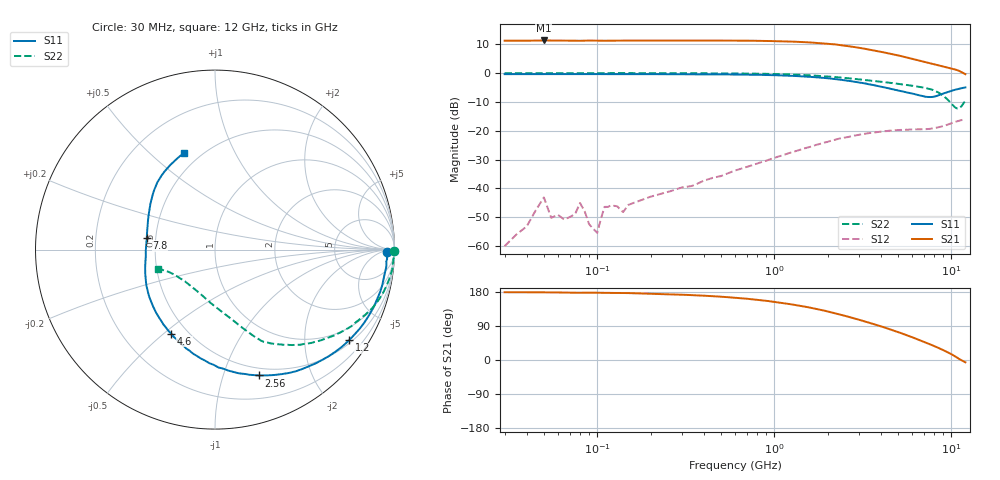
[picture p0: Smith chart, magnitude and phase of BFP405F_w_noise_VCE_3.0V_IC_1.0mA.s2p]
! Infineon Technologies  Discrete & RF Semiconductors
! BFP405F
! VCE =  3.0 V,  IC =  1.0 mA
! Common Emitter S-Parameters:  Nov 2015
# GHz  S  MA  R  50
!  f  S11  S21  S12  S22
! GHz  MAG  ANG  MAG  ANG  MAG  ANG  MAG  ANG
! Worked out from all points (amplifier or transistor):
!   239 points, 30 MHz to 12 GHz, reference 50 ohm
!   highest |S21| = 11.3 dB at 50 MHz (marker M1)
!   |S21| within 3 dB of that: start of sweep to 3.328 GHz
!   unconditionally stable (mu >= 1): 4.799 GHz to end of sweep
!   at 300 MHz: K = -0.01, MSG = 25.5 dB, |S12| = -39.7 dB
!   at 1.88 GHz: K = 0.21, MSG = 17.3 dB, |S12| = -24.3 dB
!   at 12 GHz: K = 2.00, MAG = 2.1 dB, |S12| = -16.0 dB
!   lowest NFmin = 0.95 dB at 450 MHz
!   S11 on the Smith chart (normalised r, x): 30 MHz: 43, -14; 1.2 GHz: 0.58, -3.16; 2.56 GHz: 0.42, -1.32; 4.6 GHz: 0.41, -0.53; 7.8 GHz: 0.45, +0.07; 12 GHz: 0.41, +0.65
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0.03  0.9585 -0.8  3.644 178.9  0.001 30.7  0.9965 -0.5
0.04  0.9578 -1.1  3.638 179.0  0.0022 24.6  0.9979 -0.6
0.05  0.956 -1.7  3.676 178.4  0.007 82.1  1 -0.9
0.055  0.9563 -1.6  3.664 178.4  0.0031 112.1  0.999 -0.8
0.07  0.9588 -2.0  3.651 177.6  0.0032 141.4  0.9961 -1.2
0.08  0.9609 -2.5  3.624 177.4  0.0056 66.8  0.9975 -1.1
0.085  0.9596 -2.5  3.643 177.6  0.004 69.8  0.9987 -1.2
0.1  0.9597 -2.9  3.638 177.5  0.0017 42.7  0.997 -1.7
0.11  0.9607 -3.2  3.633 177.2  0.0048 89.3  0.9987 -1.5
0.14  0.9563 -4.0  3.654 176.8  0.0039 95.2  0.9993 -2.1
0.24  0.9568 -6.8  3.669 173.9  0.0084 83.0  0.9957 -3.7
0.6  0.9445 -17.0  3.644 164.2  0.0205 82.1  0.9855 -9.2
1.2  0.9019 -34.1  3.529 148.2  0.0407 73.8  0.9487 -17.9
1.64  0.8551 -46.3  3.374 136.9  0.0541 67.3  0.9093 -23.8
2.56  0.7426 -70.7  2.953 115.3  0.0771 53.1  0.8189 -35.6
3.4  0.6419 -90.7  2.575 98.9  0.0908 43.0  0.749 -43.9
4.5  0.538 -115.3  2.17 81.2  0.1008 33.9  0.6792 -51.5
4.6  0.528 -117.6  2.138 79.5  0.1005 33.2  0.6732 -52.1
6  0.4419 -147.8  1.777 60.2  0.1052 26.7  0.604 -59.7
7.8  0.3857 170.4  1.447 38.9  0.1097 26.3  0.5143 -66.8
10.8  0.5253 120.3  1.121 6.0  0.1466 24.0  0.2434 -124.4
12  0.5647 107.9  0.957 -6.1  0.1587 21.3  0.3336 -161.6
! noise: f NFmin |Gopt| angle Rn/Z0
0.45  0.95  0.71  8  0.64
0.9  0.98  0.67  15  0.67
1.5  1.19  0.65  22  0.58
1.9  1.27  0.61  31  0.56
2.4  1.5  0.57  41  0.57
3  1.58  0.55  52  0.52
3.5  1.65  0.54  62  0.48
4.5  1.9  0.46  83  0.38
5.5  2.29  0.32  105  0.28
